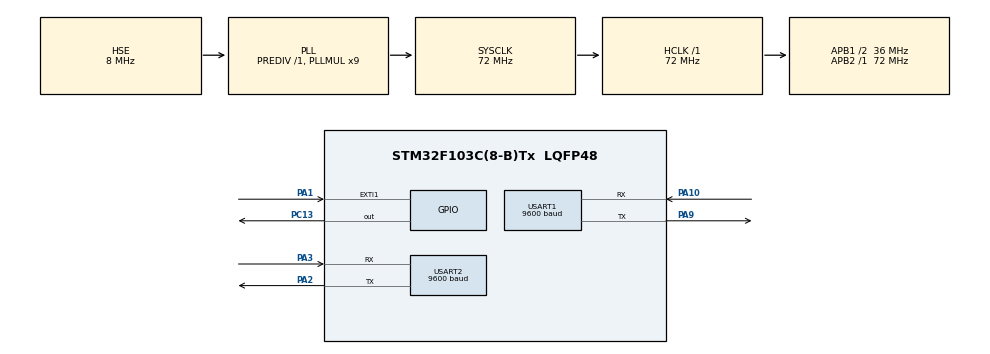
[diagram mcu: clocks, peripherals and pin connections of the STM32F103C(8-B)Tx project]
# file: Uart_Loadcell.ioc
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Mcu.Family=STM32F1
Mcu.Name=STM32F103C(8-B)Tx
Mcu.Package=LQFP48
NVIC.EXTI1_IRQn=true\:0\:0\:false\:false\:true\:true\:true\:true
NVIC.PriorityGroup=NVIC_PRIORITYGROUP_4
NVIC.USART1_IRQn=true\:0\:0\:false\:false\:true\:true\:true\:true
NVIC.USART2_IRQn=true\:0\:0\:false\:false\:true\:true\:true\:true
PA1.GPIO_ModeDefaultEXTI=GPIO_MODE_IT_FALLING
PA1.GPIO_PuPd=GPIO_PULLUP
PA1.Signal=GPXTI1
PA10.Mode=Asynchronous
PA10.Signal=USART1_RX
PA13.Mode=Serial_Wire
PA13.Signal=SYS_JTMS-SWDIO
PA14.Mode=Serial_Wire
PA14.Signal=SYS_JTCK-SWCLK
PA2.Mode=Asynchronous
PA2.Signal=USART2_TX
PA3.Mode=Asynchronous
PA3.Signal=USART2_RX
PA9.Mode=Asynchronous
PA9.Signal=USART1_TX
PC13-TAMPER-RTC.Signal=GPIO_Output
PD0-OSC_IN.Mode=HSE-External-Oscillator
PD0-OSC_IN.Signal=RCC_OSC_IN
PD1-OSC_OUT.Mode=HSE-External-Oscillator
PD1-OSC_OUT.Signal=RCC_OSC_OUT
ProjectManager.HeapSize=0x200
ProjectManager.StackSize=0x400
ProjectManager.TargetToolchain=MDK-ARM V5
RCC.AHBFreq_Value=72000000
RCC.APB1CLKDivider=RCC_HCLK_DIV2
RCC.APB1Freq_Value=36000000
RCC.APB1TimFreq_Value=72000000
RCC.APB2Freq_Value=72000000
RCC.APB2TimFreq_Value=72000000
RCC.HCLKFreq_Value=72000000
RCC.PLLMUL=RCC_PLL_MUL9
RCC.PLLSourceVirtual=RCC_PLLSOURCE_HSE
RCC.SYSCLKFreq_VALUE=72000000
RCC.SYSCLKSource=RCC_SYSCLKSOURCE_PLLCLK
RCC.USBFreq_Value=72000000
USART1.BaudRate=9600
USART1.VirtualMode=VM_ASYNC
USART2.BaudRate=9600
USART2.VirtualMode=VM_ASYNC
board=custom

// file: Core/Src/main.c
/* USER CODE BEGIN Header */
/**
  ******************************************************************************
  * @file           : main.c
  * @brief          : Main program body
  ******************************************************************************
  * @attention
  *
  * Copyright (c) 2023 STMicroelectronics.
  * All rights reserved.
  *
  * This software is licensed under terms that can be found in the LICENSE file
  * in the root directory of this software component.
  * If no LICENSE file comes with this software, it is provided AS-IS.
  *
  ******************************************************************************
  */
/* USER CODE END Header */
#include "main.h"

/* USER CODE BEGIN Includes */
//#include "string.h"
#include "modbus_crc.h"
#include "math.h"
/* USER CODE END Includes */

UART_HandleTypeDef huart1;
UART_HandleTypeDef huart2;

void SystemClock_Config(void);
static void MX_GPIO_Init(void);
static void MX_USART1_UART_Init(void);
static void MX_USART2_UART_Init(void);
/* USER CODE BEGIN PFP */

uint8_t TxData[8];
uint8_t RxData[32];

uint16_t Data[10];
char string[10];
int loadcell;
float dbloadcell;
/* USER CODE END PFP */

/* USER CODE BEGIN 0 */

void SendDatazero()
{
		TxData[0] = 0x01; //Slave ad
		TxData[1] = 0x03; //function hex for read holding the register
		TxData[2] = 0x00;
		TxData[3] =	0x00; // read 40011
		TxData[4] = 0x00;
		TxData[5] = 0x00; // the number of registers

		//Calculating CRC
		uint16_t crc = crc16(TxData, 6);
		TxData[6] = crc&0xFF;
		TxData[7] = (crc>>8)&0xFF;
		HAL_UART_Transmit(&huart1, TxData, 8, 1000);
}
void SendData()
{
		TxData[0] = 0x01; //Slave ad
		TxData[1] = 0x03; //function hex for read holding the register
		TxData[2] = 0x00;
		TxData[3] =	0x0A; // read 40011
		TxData[4] = 0x00;
		TxData[5] = 0x01; // the number of registers

		//Calculating CRC
		uint16_t crc = crc16(TxData, 6);
		TxData[6] = crc&0xFF;
		TxData[7] = (crc>>8)&0xFF;
		HAL_UART_Transmit(&huart1, TxData, 8, 1000);
}

void HAL_UARTEx_RxEventCallback(UART_HandleTypeDef *huart, uint16_t Size)
{

	loadcell = RxData[3] << 8 | RxData [4];
//	Data[1] = RxData[5] << 8 | RxData [6];
//	Data[2] = RxData[7] << 8 | RxData [8];
//	Data[3] = RxData [0];
//	Data[4] = RxData[10]<< 8 | RxData [11];
}
    // printing the decimal number

void HAL_GPIO_EXTI_Callback(uint16_t GPIO_Pin)
{
	if(GPIO_Pin == GPIO_PIN_1)
	{
//		printf(string,"%d", Data[0]);
//		HAL_UART_Transmit(&huart2,(uint8_t *)text , 10, 1000);
	}
}
void inttostring()
{
	printf(string,"%d", loadcell);

}

/* USER CODE END 0 */

int main(void)
{

  /* MCU Configuration--------------------------------------------------------*/

  /* Reset of all peripherals, Initializes the Flash interface and the Systick. */
  HAL_Init();

  /* Configure the system clock */
  SystemClock_Config();

  /* Initialize all configured peripherals */
  MX_GPIO_Init();
  MX_USART1_UART_Init();
  MX_USART2_UART_Init();
  /* USER CODE BEGIN 2 */

	HAL_UARTEx_ReceiveToIdle_IT(&huart1, RxData, 32);

//		TxData[6] = 0xF5;
//		TxData[7] = 0xC8;

//		SendData();
//		HAL_Delay(500);
//		dbloadcell = loadcell /100;
//

//		HAL_Delay(200);

//
//		HAL_UART_Transmit(&huart2,(uint8_t *) Data, 8, 1000);

  /* USER CODE END 2 */

  /* Infinite loop */
  while (1)
  {

    /* USER CODE BEGIN 3 */
		HAL_UARTEx_ReceiveToIdle_IT(&huart1, RxData, 32);
		SendData();
		HAL_Delay(200);
//		inttostring();

  }
  /* USER CODE END 3 */
}

void SystemClock_Config(void)
{
  RCC_OscInitTypeDef RCC_OscInitStruct = {0};
  RCC_ClkInitTypeDef RCC_ClkInitStruct = {0};

  /** Initializes the RCC Oscillators according to the specified parameters
  * in the RCC_OscInitTypeDef structure.
  */
  RCC_OscInitStruct.OscillatorType = RCC_OSCILLATORTYPE_HSE;
  RCC_OscInitStruct.HSEState = RCC_HSE_ON;
  RCC_OscInitStruct.HSEPredivValue = RCC_HSE_PREDIV_DIV1;
  RCC_OscInitStruct.HSIState = RCC_HSI_ON;
  RCC_OscInitStruct.PLL.PLLState = RCC_PLL_ON;
  RCC_OscInitStruct.PLL.PLLSource = RCC_PLLSOURCE_HSE;
  RCC_OscInitStruct.PLL.PLLMUL = RCC_PLL_MUL9;
  if (HAL_RCC_OscConfig(&RCC_OscInitStruct) != HAL_OK)
  {
    Error_Handler();
  }

  /** Initializes the CPU, AHB and APB buses clocks
  */
  RCC_ClkInitStruct.ClockType = RCC_CLOCKTYPE_HCLK|RCC_CLOCKTYPE_SYSCLK
                              |RCC_CLOCKTYPE_PCLK1|RCC_CLOCKTYPE_PCLK2;
  RCC_ClkInitStruct.SYSCLKSource = RCC_SYSCLKSOURCE_PLLCLK;
  RCC_ClkInitStruct.AHBCLKDivider = RCC_SYSCLK_DIV1;
  RCC_ClkInitStruct.APB1CLKDivider = RCC_HCLK_DIV2;
  RCC_ClkInitStruct.APB2CLKDivider = RCC_HCLK_DIV1;

  if (HAL_RCC_ClockConfig(&RCC_ClkInitStruct, FLASH_LATENCY_2) != HAL_OK)
  {
    Error_Handler();
  }
}

static void MX_USART1_UART_Init(void)
{

  huart1.Instance = USART1;
  huart1.Init.BaudRate = 9600;
  huart1.Init.WordLength = UART_WORDLENGTH_8B;
  huart1.Init.StopBits = UART_STOPBITS_1;
  huart1.Init.Parity = UART_PARITY_NONE;
  huart1.Init.Mode = UART_MODE_TX_RX;
  huart1.Init.HwFlowCtl = UART_HWCONTROL_NONE;
  huart1.Init.OverSampling = UART_OVERSAMPLING_16;
  if (HAL_UART_Init(&huart1) != HAL_OK)
  {
    Error_Handler();
  }

}

static void MX_USART2_UART_Init(void)
{

  huart2.Instance = USART2;
  huart2.Init.BaudRate = 9600;
  huart2.Init.WordLength = UART_WORDLENGTH_8B;
  huart2.Init.StopBits = UART_STOPBITS_1;
  huart2.Init.Parity = UART_PARITY_NONE;
  huart2.Init.Mode = UART_MODE_TX_RX;
  huart2.Init.HwFlowCtl = UART_HWCONTROL_NONE;
  huart2.Init.OverSampling = UART_OVERSAMPLING_16;
  if (HAL_UART_Init(&huart2) != HAL_OK)
  {
    Error_Handler();
  }

}

static void MX_GPIO_Init(void)
{
  GPIO_InitTypeDef GPIO_InitStruct = {0};

  /* GPIO Ports Clock Enable */
  __HAL_RCC_GPIOC_CLK_ENABLE();
  __HAL_RCC_GPIOD_CLK_ENABLE();
  __HAL_RCC_GPIOA_CLK_ENABLE();

  /*Configure GPIO pin Output Level */
  HAL_GPIO_WritePin(GPIOC, GPIO_PIN_13, GPIO_PIN_RESET);

  /*Configure GPIO pin : PC13 */
  GPIO_InitStruct.Pin = GPIO_PIN_13;
  GPIO_InitStruct.Mode = GPIO_MODE_OUTPUT_PP;
  GPIO_InitStruct.Pull = GPIO_NOPULL;
  GPIO_InitStruct.Speed = GPIO_SPEED_FREQ_LOW;
  HAL_GPIO_Init(GPIOC, &GPIO_InitStruct);

  /*Configure GPIO pin : PA1 */
  GPIO_InitStruct.Pin = GPIO_PIN_1;
  GPIO_InitStruct.Mode = GPIO_MODE_IT_FALLING;
  GPIO_InitStruct.Pull = GPIO_PULLUP;
  HAL_GPIO_Init(GPIOA, &GPIO_InitStruct);

  /* EXTI interrupt init*/
  HAL_NVIC_SetPriority(EXTI1_IRQn, 0, 0);
  HAL_NVIC_EnableIRQ(EXTI1_IRQn);

}

void Error_Handler(void)
{
  __disable_irq();
  while (1)
  {
  }
}
